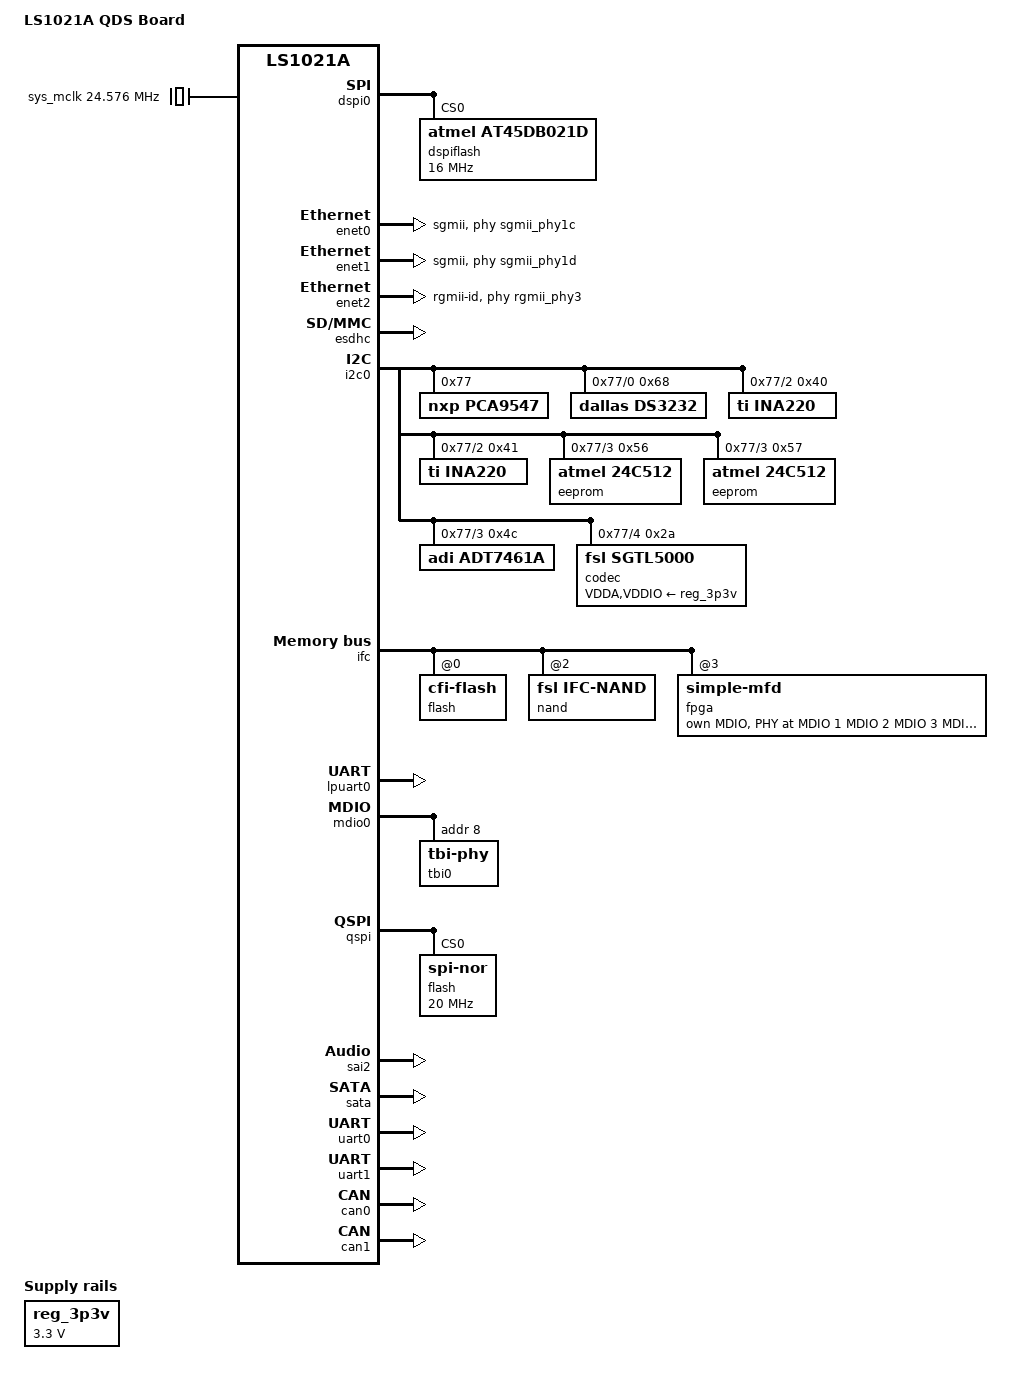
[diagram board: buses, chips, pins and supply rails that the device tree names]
// SPDX-License-Identifier: (GPL-2.0+ OR MIT)
/*
 * Copyright 2013-2014 Freescale Semiconductor, Inc.
 * Copyright 2018 NXP
 */

/dts-v1/;
#include "ls1021a.dtsi"

/ {
	model = "LS1021A QDS Board";
	compatible = "fsl,ls1021a-qds", "fsl,ls1021a";

	aliases {
		enet0_rgmii_phy = &rgmii_phy1;
		enet1_rgmii_phy = &rgmii_phy2;
		enet2_rgmii_phy = &rgmii_phy3;
		enet0_sgmii_phy = &sgmii_phy1c;
		enet1_sgmii_phy = &sgmii_phy1d;
	};

	sys_mclk: clock-mclk {
		compatible = "fixed-clock";
		#clock-cells = <0>;
		clock-frequency = <24576000>;
	};

	reg_3p3v: regulator {
		compatible = "regulator-fixed";
		regulator-name = "3P3V";
		regulator-min-microvolt = <3300000>;
		regulator-max-microvolt = <3300000>;
		regulator-always-on;
	};

	sound {
		compatible = "simple-audio-card";
		simple-audio-card,format = "i2s";
		simple-audio-card,widgets =
			"Microphone", "Microphone Jack",
			"Headphone", "Headphone Jack",
			"Speaker", "Speaker Ext",
			"Line", "Line In Jack";
		simple-audio-card,routing =
			"MIC_IN", "Microphone Jack",
			"Microphone Jack", "Mic Bias",
			"LINE_IN", "Line In Jack",
			"Headphone Jack", "HP_OUT",
			"Speaker Ext", "LINE_OUT";

		simple-audio-card,cpu {
			sound-dai = <&sai2>;
			frame-master;
			bitclock-master;
		};

		simple-audio-card,codec {
			sound-dai = <&codec>;
			frame-master;
			bitclock-master;
		};
	};
};

&dspi0 {
	bus-num = <0>;
	status = "okay";

	dspiflash: flash@0 {
		#address-cells = <1>;
		#size-cells = <1>;
		compatible = "atmel,at45db021d", "atmel,at45", "atmel,dataflash";
		spi-max-frequency = <16000000>;
		spi-cpol;
		spi-cpha;
		reg = <0>;
	};
};

&enet0 {
	tbi-handle = <&tbi0>;
	phy-handle = <&sgmii_phy1c>;
	phy-connection-type = "sgmii";
	status = "okay";
};

&enet1 {
	tbi-handle = <&tbi0>;
	phy-handle = <&sgmii_phy1d>;
	phy-connection-type = "sgmii";
	status = "okay";
};

&enet2 {
	phy-handle = <&rgmii_phy3>;
	phy-connection-type = "rgmii-id";
	status = "okay";
};

&esdhc {
	status = "okay";
};

&i2c0 {
	status = "okay";

	pca9547: mux@77 {
		compatible = "nxp,pca9547";
		reg = <0x77>;
		#address-cells = <1>;
		#size-cells = <0>;

		i2c@0 {
			#address-cells = <1>;
			#size-cells = <0>;
			reg = <0x0>;

			ds3232: rtc@68 {
				compatible = "dallas,ds3232";
				reg = <0x68>;
				interrupts = <GIC_SPI 169 IRQ_TYPE_LEVEL_HIGH>;
			};
		};

		i2c@2 {
			#address-cells = <1>;
			#size-cells = <0>;
			reg = <0x2>;

			ina220@40 {
				compatible = "ti,ina220";
				reg = <0x40>;
				shunt-resistor = <1000>;
			};

			ina220@41 {
				compatible = "ti,ina220";
				reg = <0x41>;
				shunt-resistor = <1000>;
			};
		};

		i2c@3 {
			#address-cells = <1>;
			#size-cells = <0>;
			reg = <0x3>;

			eeprom@56 {
				compatible = "atmel,24c512";
				reg = <0x56>;
			};

			eeprom@57 {
				compatible = "atmel,24c512";
				reg = <0x57>;
			};

			adt7461a@4c {
				compatible = "adi,adt7461a";
				reg = <0x4c>;
			};
		};

		i2c@4 {
			#address-cells = <1>;
			#size-cells = <0>;
			reg = <0x4>;

			codec: sgtl5000@2a {
				#sound-dai-cells = <0>;
				compatible = "fsl,sgtl5000";
				reg = <0x2a>;
				VDDA-supply = <&reg_3p3v>;
				VDDIO-supply = <&reg_3p3v>;
				clocks = <&sys_mclk>;
			};
		};
	};
};

&ifc {
	#address-cells = <2>;
	#size-cells = <1>;
	/* NOR, NAND Flashes and FPGA on board */
	ranges = <0x0 0x0 0x0 0x60000000 0x08000000>,
		 <0x2 0x0 0x0 0x7e800000 0x00010000>,
		 <0x3 0x0 0x0 0x7fb00000 0x00000100>;
	status = "okay";

	flash@0,0 {
		#address-cells = <1>;
		#size-cells = <1>;
		compatible = "cfi-flash";
		reg = <0x0 0x0 0x8000000>;
		big-endian;
		bank-width = <2>;
		device-width = <1>;
	};

	nand@2,0 {
		compatible = "fsl,ifc-nand";
		reg = <0x2 0x0 0x10000>;
	};

	fpga: board-control@3,0 {
		#address-cells = <1>;
		#size-cells = <1>;
		compatible = "simple-mfd";
		reg = <0x3 0x0 0x0000100>;
		bank-width = <1>;
		device-width = <1>;
		ranges = <0 3 0 0x100>;

		mdio-mux@54 {
			compatible = "mdio-mux-mmioreg", "mdio-mux";
			mdio-parent-bus = <&mdio0>;
			#address-cells = <1>;
			#size-cells = <0>;
			reg = <0x54 1>; /* BRDCFG4 */
			mux-mask = <0xe0>; /* EMI1[2:0] */

			/* Onboard PHYs */
			ls1021amdio0: mdio@0 {
				reg = <0>;
				#address-cells = <1>;
				#size-cells = <0>;
				rgmii_phy1: ethernet-phy@1 {
					reg = <0x1>;
				};
			};

			ls1021amdio1: mdio@20 {
				reg = <0x20>;
				#address-cells = <1>;
				#size-cells = <0>;
				rgmii_phy2: ethernet-phy@2 {
					reg = <0x2>;
				};
			};

			ls1021amdio2: mdio@40 {
				reg = <0x40>;
				#address-cells = <1>;
				#size-cells = <0>;
				rgmii_phy3: ethernet-phy@3 {
					reg = <0x3>;
				};
			};

			ls1021amdio3: mdio@60 {
				reg = <0x60>;
				#address-cells = <1>;
				#size-cells = <0>;
				sgmii_phy1c: ethernet-phy@1c {
					reg = <0x1c>;
				};
			};

			ls1021amdio4: mdio@80 {
				reg = <0x80>;
				#address-cells = <1>;
				#size-cells = <0>;
				sgmii_phy1d: ethernet-phy@1d {
					reg = <0x1d>;
				};
			};
		};
	};
};

&lpuart0 {
	status = "okay";
};

&mdio0 {
	tbi0: tbi-phy@8 {
		reg = <0x8>;
		device_type = "tbi-phy";
	};
};

&qspi {
	status = "okay";

	flash@0 {
		compatible = "jedec,spi-nor";
		#address-cells = <1>;
		#size-cells = <1>;
		spi-max-frequency = <20000000>;
		reg = <0>;
		spi-rx-bus-width = <4>;
		spi-tx-bus-width = <4>;
	};
};

&sai2 {
	status = "okay";
};

&sata {
	status = "okay";
};

&uart0 {
	status = "okay";
};

&uart1 {
	status = "okay";
};

&can0 {
	status = "okay";
};

&can1 {
	status = "okay";
};

&can2 {
	status = "disabled";
};

&can3 {
	status = "disabled";
};
